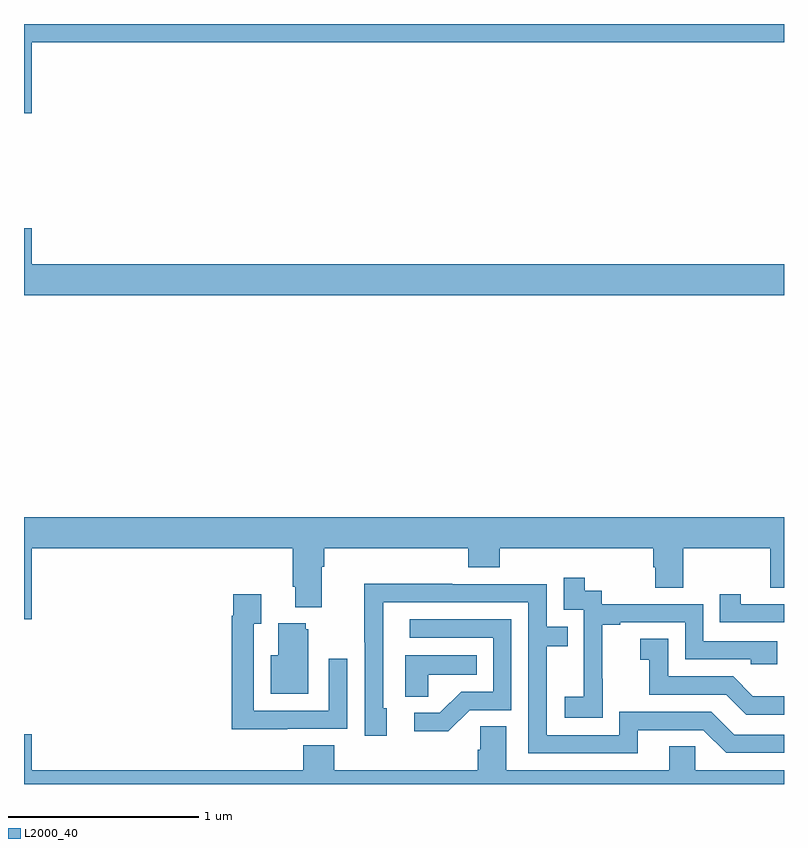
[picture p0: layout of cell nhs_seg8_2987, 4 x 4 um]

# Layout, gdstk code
import gdstk
lib = gdstk.Library(unit=1e-6, precision=1e-09)
def P(c, l, *ps):  # polygons
    for p in ps: c.add(gdstk.Polygon(p, *l))
L2000_40 = (2000, 40)

nhs_seg8_2987 = lib.new_cell('nhs_seg8_2987')
P(nhs_seg8_2987, L2000_40, [(297.04,1145.804),(301,1145.804),(301,1145.9),(297,1145.9),(297,1145.43),(297.04,1145.43)],
  [(301,1144.636),(297.04,1144.636),(297.04,1144.825),(297,1144.825),(297,1144.472),(301,1144.472)],
  [(297.04,1143.14),(298.415,1143.14),(298.415,1142.938),(298.427,1142.938),(298.427,1142.831),(298.567,1142.831),(298.567,1143.044),(298.58,1143.044),(298.58,1143.14),(299.339,1143.14),(299.339,1143.041),(299.504,1143.041),(299.504,1143.14),(300.311,1143.14),(300.311,1143.042),(300.323,1143.042),(300.323,1142.932),(300.471,1142.932),(300.471,1143.14),(300.928,1143.14),(300.928,1142.932),(301,1142.932),(301,1143.304),(297,1143.304),(297,1142.766),(297.04,1142.766)],
  [(300.045,1142.455),(300.044,1142.455),(300.044,1142.739),(300.139,1142.739),(300.139,1142.751),(300.48,1142.751),(300.48,1142.556),(300.825,1142.556),(300.825,1142.529),(300.965,1142.529),(300.965,1142.652),(300.576,1142.652),(300.576,1142.847),(300.042,1142.847),(300.042,1142.916),(299.95,1142.916),(299.95,1142.986),(299.841,1142.986),(299.841,1142.817),(299.946,1142.817),(299.946,1142.588),(299.945,1142.588),(299.945,1142.359),(299.847,1142.359),(299.847,1142.249),(300.045,1142.249)],
  [(300.229,1142.184),(300.576,1142.184),(300.696,1142.064),(301,1142.064),(301,1142.16),(300.738,1142.16),(300.618,1142.28),(300.132,1142.28),(300.132,1142.157),(299.751,1142.157),(299.751,1142.626),(299.861,1142.626),(299.861,1142.727),(299.751,1142.727),(299.751,1142.952),(299.255,1142.952),(299.255,1142.954),(298.792,1142.954),(298.792,1142.647),(298.794,1142.647),(298.794,1142.154),(298.909,1142.154),(298.909,1142.298),(298.89,1142.298),(298.89,1142.856),(299.655,1142.856),(299.655,1142.061),(300.229,1142.061)],
  [(298.385,1142.19),(298.701,1142.19),(298.701,1142.56),(298.605,1142.56),(298.605,1142.286),(298.209,1142.286),(298.209,1142.743),(298.249,1142.743),(298.249,1142.899),(298.101,1142.899),(298.101,1142.786),(298.093,1142.786),(298.093,1142.189),(298.385,1142.189)],
  [(301,1142.847),(300.772,1142.847),(300.772,1142.899),(300.661,1142.899),(300.661,1142.751),(301,1142.751)],
  [(299.346,1142.289),(299.565,1142.289),(299.565,1142.766),(299.031,1142.766),(299.031,1142.67),(299.469,1142.67),(299.469,1142.385),(299.3,1142.385),(299.189,1142.274),(299.055,1142.274),(299.055,1142.177),(299.233,1142.177)],
  [(298.495,1142.715),(298.484,1142.715),(298.484,1142.746),(298.337,1142.746),(298.337,1142.578),(298.298,1142.578),(298.298,1142.375),(298.495,1142.375)],
  [(301,1142.362),(300.836,1142.362),(300.732,1142.466),(300.39,1142.466),(300.39,1142.665),(300.243,1142.665),(300.243,1142.555),(300.292,1142.555),(300.292,1142.37),(300.695,1142.37),(300.8,1142.265),(301,1142.265)],
  [(299.127,1142.474),(299.384,1142.474),(299.384,1142.578),(299.006,1142.578),(299.006,1142.359),(299.127,1142.359)],
  [(301,1141.972),(300.534,1141.972),(300.534,1142.099),(300.395,1142.099),(300.395,1141.972),(299.539,1141.972),(299.539,1142.204),(299.4,1142.204),(299.4,1142.081),(299.387,1142.081),(299.387,1141.972),(298.634,1141.972),(298.634,1142.105),(298.469,1142.105),(298.469,1141.972),(297.04,1141.972),(297.04,1142.161),(297,1142.161),(297,1141.9),(301,1141.9)])

lib.write_gds('nhs_seg8_2987.gds')
